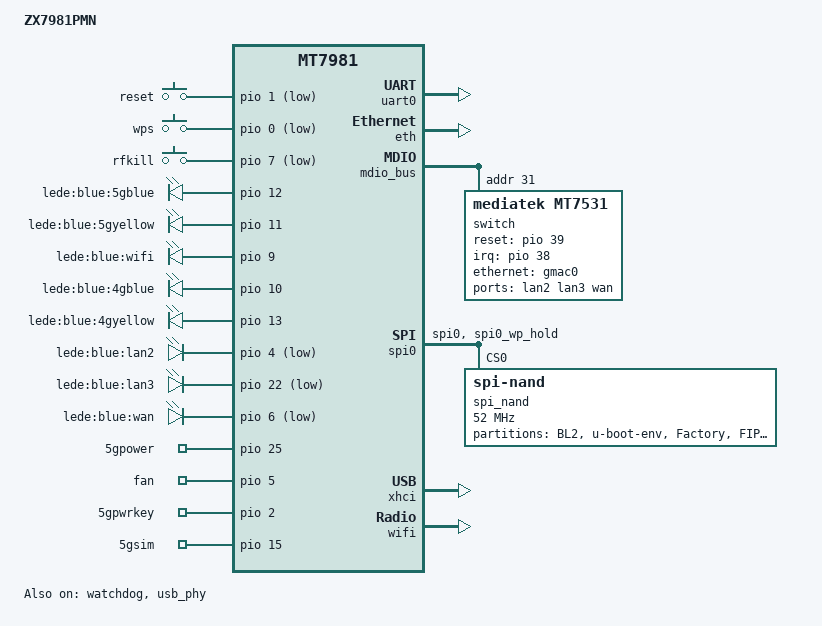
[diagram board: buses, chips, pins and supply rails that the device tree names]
/dts-v1/;

#include "mt7981b.dtsi"

/ {
	model = "ZX7981PMN";
	compatible = "ZX7981PMN", "mediatek,mt7981";

	aliases {
		label-mac-device = &wan;
		serial0 = &uart0;
	};

	chosen {
		stdout-path = "serial0:115200n8";
	};

	gpio-keys {
		compatible = "gpio-keys";
		#address-cells = <1>;
		#size-cells = <0>;
		poll-interval = <20>;

		reset {
			label = "reset";
			gpios = <&pio 1 1>;
			linux,code = <KEY_RESTART>;
		};

		wps {
			label = "wps";
			gpios = <&pio 0 1>;
			linux,code = <KEY_WPS_BUTTON>;
		};

		rfkill {
			label = "rfkill";
			gpios = <&pio 7 1>;
			linux,code = <KEY_RFKILL>;
		};
	};

	gpio-leds {
		compatible = "gpio-leds";

		5gblue {
			label = "lede:blue:5gblue";
			gpios = <&pio 12 0>;
			linux,default-trigger = "none";
			default-state = "off";
		};

		5gyellow {
			label = "lede:blue:5gyellow";
			gpios = <&pio 11 0>;
			linux,default-trigger = "none";
			default-state = "off";
		};

		wifi {
			label = "lede:blue:wifi";
			gpios = <&pio 9 0>;
			linux,default-trigger = "none";
			default-state = "off";
		};

		4gblue {
			label = "lede:blue:4gblue";
			gpios = <&pio 10 0>;
			linux,default-trigger = "none";
			default-state = "off";
		};

		4gyellow {
			label = "lede:blue:4gyellow";
			gpios = <&pio 13 0>;
			linux,default-trigger = "none";
			default-state = "off";
		};

		lan2 {
			label = "lede:blue:lan2";
			gpios = <&pio 4 1>;
			linux,default-trigger = "none";
			default-state = "off";
		};

		lan3 {
			label = "lede:blue:lan3";
			gpios = <&pio 22 1>;
			linux,default-trigger = "none";
			default-state = "off";
		};

		wan {
			label = "lede:blue:wan";
			gpios = <&pio 6 1>;
			linux,default-trigger = "none";
			default-state = "off";
		};
	};

	gpio-export {
		compatible = "gpio-export";
		5gpower {
			gpio-export,name = "5gpower";
			gpio-export,output = <0>; // OUT_INIT_LOW
			gpios = <&pio 25 0>;    // GPIO 25, ACTIVE_LOW
		};

		fan {
			gpio-export,name = "fan";
			gpio-export,output = <1>; // OUT_INIT_LOW
			gpios = <&pio 5 0>;    // GPIO 5, ACTIVE_LOW
		};

		5gpwrkey {
			gpio-export,name = "5gpwrkey";
			gpio-export,output = <0>; // OUT_INIT_LOW
			gpios = <&pio 2 0>;    // GPIO 2, ACTIVE_LOW
		};

		5gsim {
			gpio-export,name = "5gsim";
			gpio-export,output = <1>; // OUT_INIT_LOW
			gpios = <&pio 15 0>;    // GPIO 15, ACTIVE_LOW
		};

	};
};

&uart0 {
	status = "okay";
};

&watchdog {
	status = "okay";
};

&eth {
	status = "okay";

	gmac0: mac@0 {
		compatible = "mediatek,eth-mac";
		reg = <0>;
		phy-mode = "2500base-x";

		nvmem-cell-names = "mac-address";
		nvmem-cells = <&macaddr_factory_4 (-1)>;

		fixed-link {
			speed = <2500>;
			full-duplex;
			pause;
		};
	};
};

&mdio_bus {
	switch: switch@1f {
		compatible = "mediatek,mt7531";
		reg = <0x1f>;
		reset-gpios = <&pio 39 GPIO_ACTIVE_HIGH>;
		interrupt-controller;
		#interrupt-cells = <1>;
		interrupt-parent = <&pio>;
		interrupts = <38 IRQ_TYPE_LEVEL_HIGH>;
	};
};

&switch {
	ports {
		#address-cells = <1>;
		#size-cells = <0>;

		port@1 {
			reg = <1>;
			label = "lan2";
		};

		port@2 {
			reg = <2>;
			label = "lan3";
		};

		wan:port@5 {
        	reg = <5>;
            label = "wan";
            phy-mode = "2500base-x";

            fixed-link {
	                speed = <2500>;
        	        full-duplex;
                	pause;
            };
	    };

		port@6 {
			reg = <6>;
			ethernet = <&gmac0>;
			phy-mode = "2500base-x";

			fixed-link {
				speed = <2500>;
				full-duplex;
				pause;
			};
		};
	};
};


&spi0 {
	pinctrl-names = "default";
	pinctrl-0 = <&spi0_flash_pins>;
	status = "okay";

	spi_nand: flash@0 {
		#address-cells = <1>;
		#size-cells = <1>;
		compatible = "spi-nand";
		reg = <0>;
		spi-max-frequency = <52000000>;
		spi-tx-bus-width = <4>;
		spi-rx-bus-width = <4>;

		mediatek,nmbm;
		mediatek,bmt-max-ratio = <1>;
		mediatek,bmt-max-reserved-blocks = <64>;

		partitions {
			compatible = "fixed-partitions";
			#address-cells = <1>;
			#size-cells = <1>;

			partition@0 {
				label = "BL2";
				reg = <0x00000 0x0100000>;
			};

			partition@100000 {
				label = "u-boot-env";
				reg = <0x0100000 0x0080000>;
			};

			partition@180000 {
				label = "Factory";
				reg = <0x180000 0x200000>;
				read-only;

				nvmem-layout {
					compatible = "fixed-layout";
					#address-cells = <1>;
					#size-cells = <1>;

					eeprom_factory_0: eeprom@0 {
						reg = <0x0 0x1000>;
					};

					macaddr_factory_4: macaddr@4 {
						compatible = "mac-base";
						reg = <0x4 0x6>;
						#nvmem-cell-cells = <1>;
					};
				};
			};

			partition@380000 {
				label = "FIP";
				reg = <0x380000 0x0200000>;
			};

			partition@620000 {
				label = "ubi";
				reg = <0x580000 0x70A0000>;
			};

			partition@7620000 {
				label = "wtinfo";
				reg = <0x7620000 0x60000>;
			};

			partition@7680000 {
				label = "nvram";
				reg = <0x7680000 0x60000>;
			};
		};
	};
};

&pio {
	spi0_flash_pins: spi0-pins {
		mux {
			function = "spi";
			groups = "spi0", "spi0_wp_hold";
		};
	};
};

&usb_phy {
	status = "okay";
};

&xhci {
	status = "okay";
};

&watchdog {
	status = "okay";
};

&wifi {
	nvmem-cells = <&eeprom_factory_0>;
	nvmem-cell-names = "eeprom";

	status = "okay";
};
